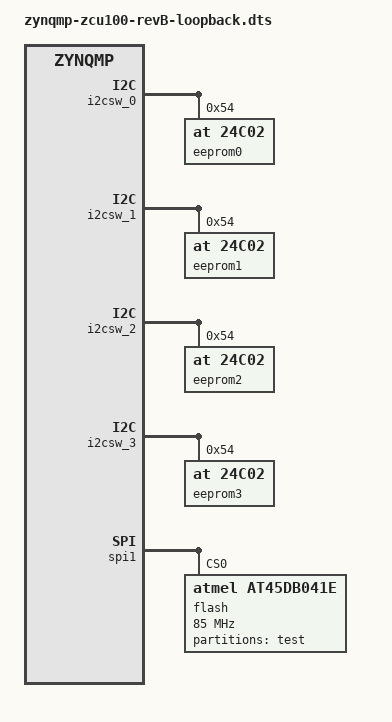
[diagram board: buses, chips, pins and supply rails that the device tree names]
/*
 * dts file for Xilinx ZynqMP ZCU100 revB
 *
 * (C) Copyright 2017, Xilinx, Inc.
 *
 * Michal Simek <michal.simek@xilinx.com>
 *
 * This program is free software; you can redistribute it and/or
 * modify it under the terms of the GNU General Public License as
 * published by the Free Software Foundation; either version 2 of
 * the License, or (at your option) any later version.
 */

#include "zynqmp-zcu100-revB.dts"

/* loopback */
&i2csw_0 {
	eeprom0: eeprom@54 { /* u1 */
		compatible = "at,24c02";
		reg = <0x54>;
	};
};

&i2csw_1 {
	eeprom1: eeprom@54 { /* u2 */
		compatible = "at,24c02";
		reg = <0x54>;
	};
};

&i2csw_2 {
	eeprom2: eeprom@54 { /* u3 */
		compatible = "at,24c02";
		reg = <0x54>;
	};
};

&i2csw_3 {
	eeprom3: eeprom@54 { /* u4 */
		compatible = "at,24c02";
		reg = <0x54>;
	};
};

&spi1 { /* High Speed connector */
	flash: at45db041@0 { /* u5 */
		#address-cells = <1>;
		#size-cells = <1>;
		compatible = "atmel,at45db041e", "atmel,at45", "atmel,dataflash";
		spi-max-frequency = <85000000>;
		reg = <0>;

		partition@0 {
			label = "test";
			reg = <0x0 0x84000>;
		};
	};
};
